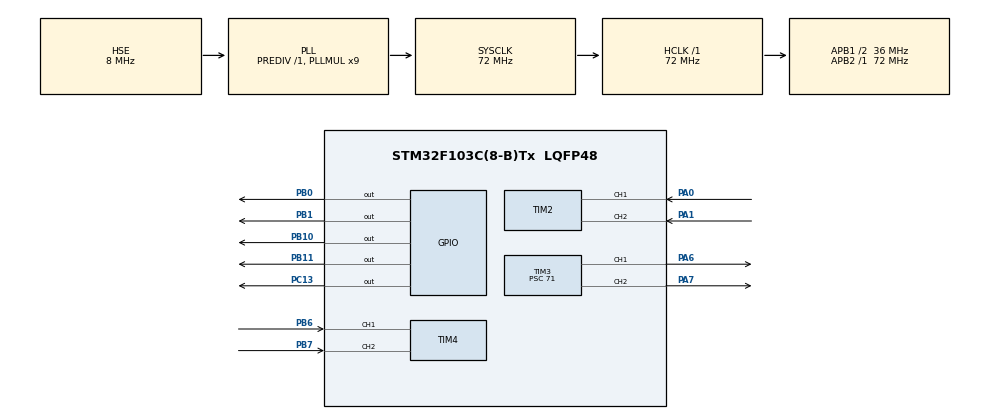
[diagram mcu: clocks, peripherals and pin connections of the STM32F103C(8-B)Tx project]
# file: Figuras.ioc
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Mcu.Family=STM32F1
Mcu.Name=STM32F103C(8-B)Tx
Mcu.Package=LQFP48
NVIC.PriorityGroup=NVIC_PRIORITYGROUP_4
PA0-WKUP.Signal=S_TIM2_CH1_ETR
PA1.Signal=S_TIM2_CH2
PA6.Signal=S_TIM3_CH1
PA7.Signal=S_TIM3_CH2
PB0.Signal=GPIO_Output
PB1.Signal=GPIO_Output
PB10.Signal=GPIO_Output
PB11.Signal=GPIO_Output
PB6.Signal=S_TIM4_CH1
PB7.Signal=S_TIM4_CH2
PC13-TAMPER-RTC.Signal=GPIO_Output
PD0-OSC_IN.Mode=HSE-External-Oscillator
PD0-OSC_IN.Signal=RCC_OSC_IN
PD1-OSC_OUT.Mode=HSE-External-Oscillator
PD1-OSC_OUT.Signal=RCC_OSC_OUT
ProjectManager.HeapSize=0x200
ProjectManager.StackSize=0x400
ProjectManager.TargetToolchain=STM32CubeIDE
RCC.AHBFreq_Value=72000000
RCC.APB1CLKDivider=RCC_HCLK_DIV2
RCC.APB1Freq_Value=36000000
RCC.APB1TimFreq_Value=72000000
RCC.APB2Freq_Value=72000000
RCC.APB2TimFreq_Value=72000000
RCC.HCLKFreq_Value=72000000
RCC.PLLMUL=RCC_PLL_MUL9
RCC.PLLSourceVirtual=RCC_PLLSOURCE_HSE
RCC.SYSCLKFreq_VALUE=72000000
RCC.SYSCLKSource=RCC_SYSCLKSOURCE_PLLCLK
RCC.USBFreq_Value=72000000
SH.S_TIM2_CH1_ETR.0=TIM2_CH1,Encoder_Interface
SH.S_TIM2_CH2.0=TIM2_CH2,Encoder_Interface
SH.S_TIM3_CH1.0=TIM3_CH1,PWM Generation1 CH1
SH.S_TIM3_CH2.0=TIM3_CH2,PWM Generation2 CH2
SH.S_TIM4_CH1.0=TIM4_CH1,Encoder_Interface
SH.S_TIM4_CH2.0=TIM4_CH2,Encoder_Interface
TIM2.EncoderMode=TIM_ENCODERMODE_TI12
TIM2.IC1Filter=10
TIM2.IC2Filter=10
TIM3.Channel-PWM\ Generation1\ CH1=TIM_CHANNEL_1
TIM3.Channel-PWM\ Generation2\ CH2=TIM_CHANNEL_2
TIM3.Period=999
TIM3.Prescaler=71
TIM4.EncoderMode=TIM_ENCODERMODE_TI12
TIM4.IC1Filter=10
TIM4.IC2Filter=10
VP_SYS_VS_ND.Mode=No_Debug
board=custom

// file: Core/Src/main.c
/* USER CODE BEGIN Header */
/**
  ******************************************************************************
  * @file           : main.c
  * @brief          : Main program body
  ******************************************************************************
  * @attention
  *
  * Copyright (c) 2026 STMicroelectronics.
  * All rights reserved.
  *
  * This software is licensed under terms that can be found in the LICENSE file
  * in the root directory of this software component.
  * If no LICENSE file comes with this software, it is provided AS-IS.
  *
  ******************************************************************************
  */
/* USER CODE END Header */
#include "main.h"

/* USER CODE BEGIN PD */

// ============================================================
// CONSTANTES DE CALIBRACIÓN (AJUSTADAS)
// ============================================================
#define PULSOS_POR_LADO     34      // Valor calibrado para 50 cm
#define VELOCIDAD_IZQ       800     // PWM motor izquierdo
#define VELOCIDAD_DER       650     // PWM motor derecho (ajustado para ir recto)
#define VELOCIDAD_KICKSTART 999     // PWM de arranque fuerte
#define TIEMPO_KICKSTART_MS 200     // Duración del kickstart
#define TIEMPO_MAXIMO_MS    3000    // Tiempo máximo de avance (seguridad)

/* USER CODE END PD */

TIM_HandleTypeDef htim2;
TIM_HandleTypeDef htim3;
TIM_HandleTypeDef htim4;

/* USER CODE BEGIN PV */
int32_t encoder_izq = 0;
int32_t encoder_der = 0;
/* USER CODE END PV */

void SystemClock_Config(void);
static void MX_GPIO_Init(void);
static void MX_TIM2_Init(void);
static void MX_TIM3_Init(void);
static void MX_TIM4_Init(void);

/* USER CODE BEGIN 0 */

// ============================================================
// FUNCIONES DE CONTROL DE MOTORES
// ============================================================

void MotorIzq_Adelante(uint16_t velocidad) {
    HAL_GPIO_WritePin(GPIOB, GPIO_PIN_10, GPIO_PIN_SET);
    HAL_GPIO_WritePin(GPIOB, GPIO_PIN_11, GPIO_PIN_RESET);
    __HAL_TIM_SET_COMPARE(&htim3, TIM_CHANNEL_2, velocidad);
}

void MotorIzq_Atras(uint16_t velocidad) {
    HAL_GPIO_WritePin(GPIOB, GPIO_PIN_10, GPIO_PIN_RESET);
    HAL_GPIO_WritePin(GPIOB, GPIO_PIN_11, GPIO_PIN_SET);
    __HAL_TIM_SET_COMPARE(&htim3, TIM_CHANNEL_2, velocidad);
}

void MotorIzq_Detener(void) {
    HAL_GPIO_WritePin(GPIOB, GPIO_PIN_10, GPIO_PIN_RESET);
    HAL_GPIO_WritePin(GPIOB, GPIO_PIN_11, GPIO_PIN_RESET);
    __HAL_TIM_SET_COMPARE(&htim3, TIM_CHANNEL_2, 0);
}

void MotorDer_Adelante(uint16_t velocidad) {
    HAL_GPIO_WritePin(GPIOB, GPIO_PIN_0, GPIO_PIN_SET);
    HAL_GPIO_WritePin(GPIOB, GPIO_PIN_1, GPIO_PIN_RESET);
    __HAL_TIM_SET_COMPARE(&htim3, TIM_CHANNEL_1, velocidad);
}

void MotorDer_Atras(uint16_t velocidad) {
    HAL_GPIO_WritePin(GPIOB, GPIO_PIN_0, GPIO_PIN_RESET);
    HAL_GPIO_WritePin(GPIOB, GPIO_PIN_1, GPIO_PIN_SET);
    __HAL_TIM_SET_COMPARE(&htim3, TIM_CHANNEL_1, velocidad);
}

void MotorDer_Detener(void) {
    HAL_GPIO_WritePin(GPIOB, GPIO_PIN_0, GPIO_PIN_RESET);
    HAL_GPIO_WritePin(GPIOB, GPIO_PIN_1, GPIO_PIN_RESET);
    __HAL_TIM_SET_COMPARE(&htim3, TIM_CHANNEL_1, 0);
}

/* USER CODE END 0 */

int main(void)
{

  /* MCU Configuration--------------------------------------------------------*/

  /* Reset of all peripherals, Initializes the Flash interface and the Systick. */
  HAL_Init();

  /* Configure the system clock */
  SystemClock_Config();

  /* Initialize all configured peripherals */
  MX_GPIO_Init();
  MX_TIM2_Init();
  MX_TIM3_Init();
  MX_TIM4_Init();
  /* USER CODE BEGIN 2 */

  // Iniciar PWM
  HAL_TIM_PWM_Start(&htim3, TIM_CHANNEL_1);
  HAL_TIM_PWM_Start(&htim3, TIM_CHANNEL_2);

  // Iniciar Encoders
  HAL_TIM_Encoder_Start(&htim2, TIM_CHANNEL_ALL);
  HAL_TIM_Encoder_Start(&htim4, TIM_CHANNEL_ALL);

  // Resetear contadores
  __HAL_TIM_SET_COUNTER(&htim2, 0);
  __HAL_TIM_SET_COUNTER(&htim4, 0);

  // Motores detenidos al arrancar
  MotorIzq_Detener();
  MotorDer_Detener();

  HAL_Delay(1000);

  /* USER CODE END 2 */

  /* Infinite loop */
  /* USER CODE BEGIN WHILE */
  while (1)
  {
    // ---- Resetear contadores antes de cada avance ----
    __HAL_TIM_SET_COUNTER(&htim2, 0);
    __HAL_TIM_SET_COUNTER(&htim4, 0);

    // ---- KICKSTART: Arranque fuerte ----
    MotorIzq_Adelante(VELOCIDAD_KICKSTART);
    MotorDer_Adelante(VELOCIDAD_KICKSTART);
    HAL_Delay(TIEMPO_KICKSTART_MS);

    // ---- Bucle de avance controlado por encoders ----
    uint32_t tiempo_inicio = HAL_GetTick();

    while (1)
    {
        encoder_izq = (int32_t)__HAL_TIM_GET_COUNTER(&htim2);
        encoder_der = (int32_t)__HAL_TIM_GET_COUNTER(&htim4);

        // Condición 1: ambos encoders alcanzaron el objetivo
        if (encoder_izq >= PULSOS_POR_LADO && encoder_der >= PULSOS_POR_LADO)
        {
            MotorIzq_Detener();
            MotorDer_Detener();
            break;
        }

        // Condición 2: tiempo máximo superado (seguridad)
        if (HAL_GetTick() - tiempo_inicio > TIEMPO_MAXIMO_MS)
        {
            MotorIzq_Detener();
            MotorDer_Detener();
            break;
        }

        // Mover motores con compensación de velocidad
        MotorIzq_Adelante(VELOCIDAD_IZQ);
        MotorDer_Adelante(VELOCIDAD_DER);

        HAL_Delay(10);
    }

    // ---- Pausa antes de repetir la prueba ----
    HAL_Delay(3000);

    /* USER CODE END WHILE */

  }
}

void SystemClock_Config(void)
{
  RCC_OscInitTypeDef RCC_OscInitStruct = {0};
  RCC_ClkInitTypeDef RCC_ClkInitStruct = {0};

  RCC_OscInitStruct.OscillatorType = RCC_OSCILLATORTYPE_HSE;
  RCC_OscInitStruct.HSEState = RCC_HSE_ON;
  RCC_OscInitStruct.HSEPredivValue = RCC_HSE_PREDIV_DIV1;
  RCC_OscInitStruct.HSIState = RCC_HSI_ON;
  RCC_OscInitStruct.PLL.PLLState = RCC_PLL_ON;
  RCC_OscInitStruct.PLL.PLLSource = RCC_PLLSOURCE_HSE;
  RCC_OscInitStruct.PLL.PLLMUL = RCC_PLL_MUL9;
  if (HAL_RCC_OscConfig(&RCC_OscInitStruct) != HAL_OK)
  {
    Error_Handler();
  }

  RCC_ClkInitStruct.ClockType = RCC_CLOCKTYPE_HCLK|RCC_CLOCKTYPE_SYSCLK
                              |RCC_CLOCKTYPE_PCLK1|RCC_CLOCKTYPE_PCLK2;
  RCC_ClkInitStruct.SYSCLKSource = RCC_SYSCLKSOURCE_PLLCLK;
  RCC_ClkInitStruct.AHBCLKDivider = RCC_SYSCLK_DIV1;
  RCC_ClkInitStruct.APB1CLKDivider = RCC_HCLK_DIV2;
  RCC_ClkInitStruct.APB2CLKDivider = RCC_HCLK_DIV1;

  if (HAL_RCC_ClockConfig(&RCC_ClkInitStruct, FLASH_LATENCY_2) != HAL_OK)
  {
    Error_Handler();
  }
}

static void MX_TIM2_Init(void)
{
  TIM_Encoder_InitTypeDef sConfig = {0};
  TIM_MasterConfigTypeDef sMasterConfig = {0};

  htim2.Instance = TIM2;
  htim2.Init.Prescaler = 0;
  htim2.Init.CounterMode = TIM_COUNTERMODE_UP;
  htim2.Init.Period = 65535;
  htim2.Init.ClockDivision = TIM_CLOCKDIVISION_DIV1;
  htim2.Init.AutoReloadPreload = TIM_AUTORELOAD_PRELOAD_DISABLE;
  sConfig.EncoderMode = TIM_ENCODERMODE_TI12;
  sConfig.IC1Polarity = TIM_ICPOLARITY_RISING;
  sConfig.IC1Selection = TIM_ICSELECTION_DIRECTTI;
  sConfig.IC1Prescaler = TIM_ICPSC_DIV1;
  sConfig.IC1Filter = 10;
  sConfig.IC2Polarity = TIM_ICPOLARITY_RISING;
  sConfig.IC2Selection = TIM_ICSELECTION_DIRECTTI;
  sConfig.IC2Prescaler = TIM_ICPSC_DIV1;
  sConfig.IC2Filter = 10;
  if (HAL_TIM_Encoder_Init(&htim2, &sConfig) != HAL_OK)
  {
    Error_Handler();
  }
  sMasterConfig.MasterOutputTrigger = TIM_TRGO_RESET;
  sMasterConfig.MasterSlaveMode = TIM_MASTERSLAVEMODE_DISABLE;
  if (HAL_TIMEx_MasterConfigSynchronization(&htim2, &sMasterConfig) != HAL_OK)
  {
    Error_Handler();
  }
}

static void MX_TIM3_Init(void)
{
  TIM_MasterConfigTypeDef sMasterConfig = {0};
  TIM_OC_InitTypeDef sConfigOC = {0};

  htim3.Instance = TIM3;
  htim3.Init.Prescaler = 71;
  htim3.Init.CounterMode = TIM_COUNTERMODE_UP;
  htim3.Init.Period = 999;
  htim3.Init.ClockDivision = TIM_CLOCKDIVISION_DIV1;
  htim3.Init.AutoReloadPreload = TIM_AUTORELOAD_PRELOAD_DISABLE;
  if (HAL_TIM_PWM_Init(&htim3) != HAL_OK)
  {
    Error_Handler();
  }
  sMasterConfig.MasterOutputTrigger = TIM_TRGO_RESET;
  sMasterConfig.MasterSlaveMode = TIM_MASTERSLAVEMODE_DISABLE;
  if (HAL_TIMEx_MasterConfigSynchronization(&htim3, &sMasterConfig) != HAL_OK)
  {
    Error_Handler();
  }
  sConfigOC.OCMode = TIM_OCMODE_PWM1;
  sConfigOC.Pulse = 0;
  sConfigOC.OCPolarity = TIM_OCPOLARITY_HIGH;
  sConfigOC.OCFastMode = TIM_OCFAST_DISABLE;
  if (HAL_TIM_PWM_ConfigChannel(&htim3, &sConfigOC, TIM_CHANNEL_1) != HAL_OK)
  {
    Error_Handler();
  }
  if (HAL_TIM_PWM_ConfigChannel(&htim3, &sConfigOC, TIM_CHANNEL_2) != HAL_OK)
  {
    Error_Handler();
  }
  HAL_TIM_MspPostInit(&htim3);
}

static void MX_TIM4_Init(void)
{
  TIM_Encoder_InitTypeDef sConfig = {0};
  TIM_MasterConfigTypeDef sMasterConfig = {0};

  htim4.Instance = TIM4;
  htim4.Init.Prescaler = 0;
  htim4.Init.CounterMode = TIM_COUNTERMODE_UP;
  htim4.Init.Period = 65535;
  htim4.Init.ClockDivision = TIM_CLOCKDIVISION_DIV1;
  htim4.Init.AutoReloadPreload = TIM_AUTORELOAD_PRELOAD_DISABLE;
  sConfig.EncoderMode = TIM_ENCODERMODE_TI12;
  sConfig.IC1Polarity = TIM_ICPOLARITY_RISING;
  sConfig.IC1Selection = TIM_ICSELECTION_DIRECTTI;
  sConfig.IC1Prescaler = TIM_ICPSC_DIV1;
  sConfig.IC1Filter = 10;
  sConfig.IC2Polarity = TIM_ICPOLARITY_RISING;
  sConfig.IC2Selection = TIM_ICSELECTION_DIRECTTI;
  sConfig.IC2Prescaler = TIM_ICPSC_DIV1;
  sConfig.IC2Filter = 10;
  if (HAL_TIM_Encoder_Init(&htim4, &sConfig) != HAL_OK)
  {
    Error_Handler();
  }
  sMasterConfig.MasterOutputTrigger = TIM_TRGO_RESET;
  sMasterConfig.MasterSlaveMode = TIM_MASTERSLAVEMODE_DISABLE;
  if (HAL_TIMEx_MasterConfigSynchronization(&htim4, &sMasterConfig) != HAL_OK)
  {
    Error_Handler();
  }
}

static void MX_GPIO_Init(void)
{
  GPIO_InitTypeDef GPIO_InitStruct = {0};

  __HAL_RCC_GPIOD_CLK_ENABLE();
  __HAL_RCC_GPIOA_CLK_ENABLE();
  __HAL_RCC_GPIOB_CLK_ENABLE();
  __HAL_RCC_GPIOC_CLK_ENABLE();

  HAL_GPIO_WritePin(GPIOB, GPIO_PIN_0|GPIO_PIN_1|GPIO_PIN_10|GPIO_PIN_11, GPIO_PIN_RESET);
  HAL_GPIO_WritePin(GPIOC, GPIO_PIN_13, GPIO_PIN_RESET);

  GPIO_InitStruct.Pin = GPIO_PIN_0|GPIO_PIN_1|GPIO_PIN_10|GPIO_PIN_11;
  GPIO_InitStruct.Mode = GPIO_MODE_OUTPUT_PP;
  GPIO_InitStruct.Pull = GPIO_NOPULL;
  GPIO_InitStruct.Speed = GPIO_SPEED_FREQ_LOW;
  HAL_GPIO_Init(GPIOB, &GPIO_InitStruct);

  GPIO_InitStruct.Pin = GPIO_PIN_13;
  GPIO_InitStruct.Mode = GPIO_MODE_OUTPUT_PP;
  GPIO_InitStruct.Pull = GPIO_NOPULL;
  GPIO_InitStruct.Speed = GPIO_SPEED_FREQ_LOW;
  HAL_GPIO_Init(GPIOC, &GPIO_InitStruct);
}

void Error_Handler(void)
{
  __disable_irq();
  while (1)
  {
  }
}
